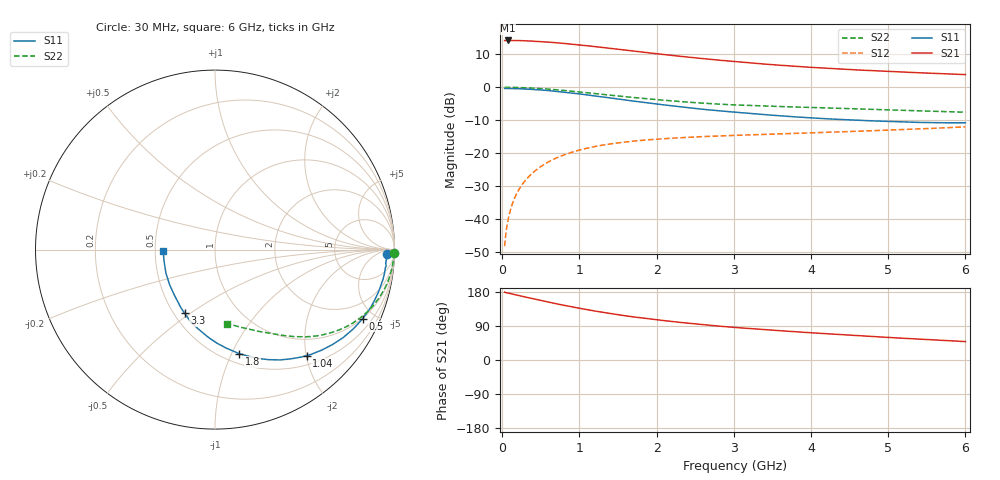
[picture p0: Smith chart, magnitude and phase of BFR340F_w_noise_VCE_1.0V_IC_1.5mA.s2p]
! Infineon Technologies  Discrete & RF Semiconductors
! BFR340F
! VCE =  1.0 V,  IC =  1.5 mA
! Common Emitter S-Parameters:  Nov 2015
# GHz  S  MA  R  50
!  f  S11  S21  S12  S22
! GHz  MAG  ANG  MAG  ANG  MAG  ANG  MAG  ANG
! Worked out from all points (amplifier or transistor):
!   206 points, 30 MHz to 6 GHz, reference 50 ohm
!   highest |S21| = 14.2 dB at 70 MHz (marker M1)
!   |S21| within 3 dB of that: start of sweep to 1.623 GHz
!   unconditionally stable (mu >= 1): 4.904 GHz to end of sweep
!   at 200 MHz: K = 0.05, MSG = 22.9 dB, |S12| = -31.7 dB
!   at 1.56 GHz: K = 0.44, MSG = 14.0 dB, |S12| = -16.7 dB
!   at 6 GHz: K = 1.05, MAG = 6.6 dB, |S12| = -12.0 dB
!   lowest NFmin = 0.73 dB at 450 MHz
!   S11 on the Smith chart (normalised r, x): 30 MHz: 32, -21; 500 MHz: 0.98, -4.30; 1.04 GHz: 0.66, -2.01; 1.8 GHz: 0.60, -1.07; 3.3 GHz: 0.57, -0.47; 6 GHz: 0.55, -0.01
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0.03  0.957 -1.6  5.096 179.0  0.0039 89.1  0.9966 -1.0
0.05  0.9564 -2.5  5.064 177.3  0.0066 89.1  0.9963 -1.7
0.07  0.9561 -3.7  5.109 176.5  0.0091 86.8  0.9963 -2.4
0.13  0.9542 -6.6  5.093 174.2  0.0171 86.0  0.9941 -4.4
0.22  0.9477 -11.2  5.083 169.8  0.0287 83.0  0.9879 -7.5
0.34  0.9341 -17.2  5.027 164.3  0.0438 79.2  0.9758 -11.5
0.5  0.9086 -25.0  4.907 157.2  0.0629 74.5  0.9523 -16.6
0.6  0.8888 -29.7  4.823 152.6  0.074 71.6  0.9345 -19.6
0.78  0.8464 -38.0  4.627 145.0  0.0923 66.8  0.8975 -24.7
1.04  0.7804 -49.2  4.326 135.0  0.1147 60.7  0.8385 -31.4
1.2  0.7385 -55.6  4.128 129.2  0.1263 57.4  0.8016 -35.0
1.4  0.6881 -63.2  3.878 122.7  0.1384 53.9  0.7568 -39.1
1.6  0.6381 -70.4  3.644 116.5  0.1482 50.9  0.7158 -42.6
1.8  0.5961 -76.8  3.417 111.1  0.1562 48.5  0.6795 -45.6
2.02  0.5529 -83.4  3.196 105.7  0.1637 46.3  0.6449 -48.5
2.2  0.522 -88.7  3.026 101.5  0.1689 45.0  0.6194 -50.8
2.56  0.4679 -98.6  2.741 94.0  0.1776 43.0  0.5769 -54.7
3.1  0.41 -111.6  2.396 84.7  0.1876 41.4  0.5343 -59.5
3.3  0.3918 -115.7  2.291 81.7  0.191 41.2  0.5239 -60.9
4.1  0.3375 -132.8  1.968 70.6  0.205 41.5  0.49 -65.6
5.1  0.3001 -156.4  1.715 58.4  0.2259 43.1  0.4495 -72.9
6  0.289 -178.0  1.553 48.6  0.2506 45.0  0.418 -80.6
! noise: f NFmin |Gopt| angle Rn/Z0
0.45  0.73  0.76  4  0.5
0.9  0.74  0.73  13  0.54
1.9  1.08  0.59  24  0.46
2.4  1.18  0.55  34  0.44
